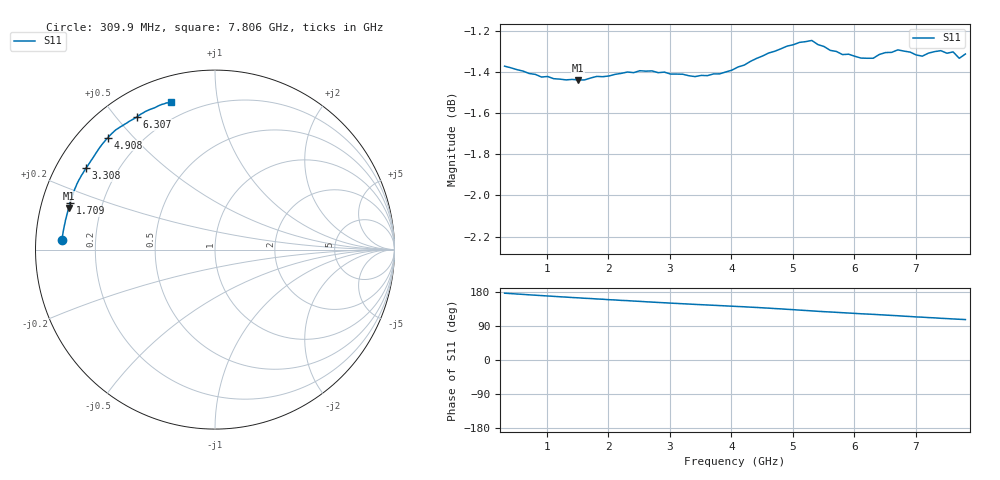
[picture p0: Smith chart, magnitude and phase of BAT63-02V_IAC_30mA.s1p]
! Infineon Technologies  Discrete & RF Semiconductors
! BAT63-02V
! IAC = 30 mA
! One-Port S-Parameters
# Hz  S  MA  R  50
!f  S11
!Hz  Mag  Ang
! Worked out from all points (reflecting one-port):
!   76 points, 309.9 MHz to 7.806 GHz, reference 50 ohm
!   lowest |S11| = -1.4 dB at 1.509 GHz (marker M1), VSWR 12.11, Z = 4.21 + j6.95 ohm
!   phase of S11 starts at 176 deg and turns -70 deg over the sweep
!   S11 on the Smith chart (normalised r, x): 309.9 MHz: 0.08, +0.03; 1.709 GHz: 0.08, +0.16; 3.308 GHz: 0.09, +0.29; 4.908 GHz: 0.09, +0.42; 6.307 GHz: 0.10, +0.57; 7.806 GHz: 0.12, +0.74
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3.0985e8  0.8539 176.3
7.0965e8  0.8505 172.0
1.30935e9  0.8474 166.0
1.50925e9  0.8474 164.1
1.6092e9  0.8474 162.9
1.70915e9  0.8483 162.2
1.8091e9  0.8491 161.1
1.90905e9  0.8489 160.3
2.009e9  0.8493 159.1
2.10895e9  0.8501 158.5
2.2089e9  0.8505 157.3
2.50875e9  0.8518 154.7
2.8086e9  0.8508 151.9
3.2084e9  0.8501 148.4
3.30835e9  0.8494 147.6
4.10795e9  0.8536 141.2
4.4078e9  0.8577 138.7
4.90755e9  0.8636 133.8
5.0075e9  0.8643 132.8
5.4073e9  0.8643 128.5
6.007e9  0.8587 123.0
6.30685e9  0.8578 120.5
6.70665e9  0.8618 116.8
6.90655e9  0.8607 114.8
7.0065e9  0.8593 113.6
7.10645e9  0.8588 113.0
7.4063e9  0.8614 110.1
7.8061e9  0.8598 106.7
